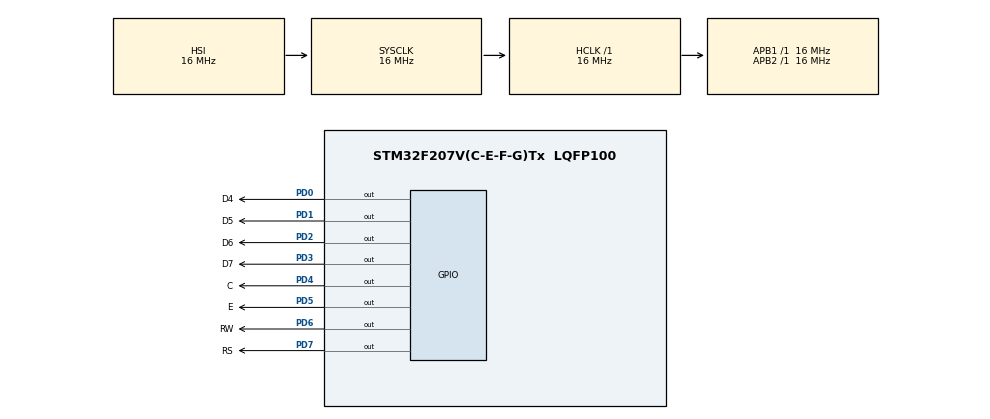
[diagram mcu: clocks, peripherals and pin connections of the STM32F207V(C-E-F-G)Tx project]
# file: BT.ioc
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Mcu.Family=STM32F2
Mcu.Name=STM32F207V(C-E-F-G)Tx
Mcu.Package=LQFP100
NVIC.PriorityGroup=NVIC_PRIORITYGROUP_4
PA13.Mode=Serial_Wire
PA13.Signal=SYS_JTMS-SWDIO
PA14.Mode=Serial_Wire
PA14.Signal=SYS_JTCK-SWCLK
PD0.GPIO_Label=D4
PD0.Signal=GPIO_Output
PD1.GPIO_Label=D5
PD1.Signal=GPIO_Output
PD2.GPIO_Label=D6
PD2.Signal=GPIO_Output
PD3.GPIO_Label=D7
PD3.Signal=GPIO_Output
PD4.GPIO_Label=C
PD4.Signal=GPIO_Output
PD5.GPIO_Label=E
PD5.Signal=GPIO_Output
PD6.GPIO_Label=RW
PD6.Signal=GPIO_Output
PD7.GPIO_Label=RS
PD7.Signal=GPIO_Output
ProjectManager.HeapSize=0x200
ProjectManager.StackSize=0x400
ProjectManager.TargetToolchain=MDK-ARM V5.32
RCC.48MHZClocksFreq_Value=48000000
RCC.AHBFreq_Value=16000000
RCC.APB1Freq_Value=16000000
RCC.APB2Freq_Value=16000000
RCC.CortexFreq_Value=16000000
RCC.HSE_VALUE=25000000
RCC.HSI_VALUE=16000000
RCC.LSE_VALUE=32768
RCC.SYSCLKFreq_VALUE=16000000
RCC.VCOOutputFreq_Value=192000000
board=custom

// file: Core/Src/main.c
/* USER CODE BEGIN Header */
/**
  ******************************************************************************
  * @file           : main.c
  * @brief          : Main program body
  ******************************************************************************
  * @attention
  *
  * Copyright (c) 2025 STMicroelectronics.
  * All rights reserved.
  *
  * This software is licensed under terms that can be found in the LICENSE file
  * in the root directory of this software component.
  * If no LICENSE file comes with this software, it is provided AS-IS.
  *
  ******************************************************************************
  */
/* USER CODE END Header */
#include "main.h"

void SystemClock_Config(void);
static void MX_GPIO_Init(void);

int main(void)
{

  /* MCU Configuration--------------------------------------------------------*/

  /* Reset of all peripherals, Initializes the Flash interface and the Systick. */
  HAL_Init();

  /* Configure the system clock */
  SystemClock_Config();

  /* Initialize all configured peripherals */
  MX_GPIO_Init();

  /* Infinite loop */
  /* USER CODE BEGIN WHILE */
		HAL_GPIO_WritePin(C_GPIO_Port, C_Pin, 1);

  while (1)
  {
				// LCD init
		HAL_Delay(100);\
		// RS RW D7 D6 D5 D4 = 0 0 0 0 1 1
		HAL_GPIO_WritePin(RS_GPIO_Port,RS_Pin,0);
		HAL_GPIO_WritePin(RW_GPIO_Port,RW_Pin,0);
		HAL_GPIO_WritePin(D7_GPIO_Port,D7_Pin,0);
		HAL_GPIO_WritePin(D6_GPIO_Port,D6_Pin,0);
		HAL_GPIO_WritePin(D5_GPIO_Port,D5_Pin,1);
		HAL_GPIO_WritePin(D4_GPIO_Port,D4_Pin,1);
		HAL_GPIO_WritePin(E_GPIO_Port, E_Pin, 1);
		HAL_GPIO_WritePin(E_GPIO_Port, E_Pin, 0);
		HAL_Delay(5);  // 4.1ms

		// RS RW D7 D6 D5 D4 = 0 0 0 0 1 1
		HAL_GPIO_WritePin(RS_GPIO_Port,RS_Pin,0);
		HAL_GPIO_WritePin(RW_GPIO_Port,RW_Pin,0);
		HAL_GPIO_WritePin(D7_GPIO_Port,D7_Pin,0);
		HAL_GPIO_WritePin(D6_GPIO_Port,D6_Pin,0);
		HAL_GPIO_WritePin(D5_GPIO_Port,D5_Pin,1);
		HAL_GPIO_WritePin(D4_GPIO_Port,D4_Pin,1);
		HAL_GPIO_WritePin(E_GPIO_Port, E_Pin, 1);
		HAL_GPIO_WritePin(E_GPIO_Port, E_Pin, 0);

		HAL_Delay(1);  // 100us

		// RS RW D7 D6 D5 D4 = 0 0 0 0 1 1
		HAL_GPIO_WritePin(RS_GPIO_Port,RS_Pin,0);
		HAL_GPIO_WritePin(RW_GPIO_Port,RW_Pin,0);
		HAL_GPIO_WritePin(D7_GPIO_Port,D7_Pin,0);
		HAL_GPIO_WritePin(D6_GPIO_Port,D6_Pin,0);
		HAL_GPIO_WritePin(D5_GPIO_Port,D5_Pin,1);
		HAL_GPIO_WritePin(D4_GPIO_Port,D4_Pin,1);
		HAL_GPIO_WritePin(E_GPIO_Port, E_Pin, 1);
		HAL_GPIO_WritePin(E_GPIO_Port, E_Pin, 0);

		// RS RW D7 D6 D5 D4 = 0 0 0 0 1 0
		HAL_GPIO_WritePin(RS_GPIO_Port,RS_Pin,0);
		HAL_GPIO_WritePin(RW_GPIO_Port,RW_Pin,0);
		HAL_GPIO_WritePin(D7_GPIO_Port,D7_Pin,0);
		HAL_GPIO_WritePin(D6_GPIO_Port,D6_Pin,0);
		HAL_GPIO_WritePin(D5_GPIO_Port,D5_Pin,1);
		HAL_GPIO_WritePin(D4_GPIO_Port,D4_Pin,0);
		HAL_GPIO_WritePin(E_GPIO_Port, E_Pin, 1);
		HAL_GPIO_WritePin(E_GPIO_Port, E_Pin, 0);
		HAL_Delay(1);

		// RS RW D7 D6 D5 D4 = 0 0 0 0 1 0
		HAL_GPIO_WritePin(RS_GPIO_Port,RS_Pin,0);
		HAL_GPIO_WritePin(RW_GPIO_Port,RW_Pin,0);
		HAL_GPIO_WritePin(D7_GPIO_Port,D7_Pin,0);
		HAL_GPIO_WritePin(D6_GPIO_Port,D6_Pin,0);
		HAL_GPIO_WritePin(D5_GPIO_Port,D5_Pin,1);
		HAL_GPIO_WritePin(D4_GPIO_Port,D4_Pin,0);
		HAL_GPIO_WritePin(E_GPIO_Port, E_Pin, 1);
		HAL_GPIO_WritePin(E_GPIO_Port, E_Pin, 0);

		// RS RW D7 D6 D5 D4 = 0 0 N F * *
		// N = 1 ( 2 lines LCD ; 5x8 )
		HAL_GPIO_WritePin(RS_GPIO_Port,RS_Pin,0);
		HAL_GPIO_WritePin(RW_GPIO_Port,RW_Pin,0);
		HAL_GPIO_WritePin(D7_GPIO_Port,D7_Pin,1);
		HAL_GPIO_WritePin(D6_GPIO_Port,D6_Pin,0);
		HAL_GPIO_WritePin(D5_GPIO_Port,D5_Pin,0);
		HAL_GPIO_WritePin(D4_GPIO_Port,D4_Pin,0);
		HAL_GPIO_WritePin(E_GPIO_Port, E_Pin, 1);
		HAL_GPIO_WritePin(E_GPIO_Port, E_Pin, 0);
		HAL_Delay(1);

		// RS RW D7 D6 D5 D4 = 0 0 0 0 0 0
		HAL_GPIO_WritePin(RS_GPIO_Port,RS_Pin,0);
		HAL_GPIO_WritePin(RW_GPIO_Port,RW_Pin,0);
		HAL_GPIO_WritePin(D7_GPIO_Port,D7_Pin,0);
		HAL_GPIO_WritePin(D6_GPIO_Port,D6_Pin,0);
		HAL_GPIO_WritePin(D5_GPIO_Port,D5_Pin,0);
		HAL_GPIO_WritePin(D4_GPIO_Port,D4_Pin,0);
		HAL_GPIO_WritePin(E_GPIO_Port, E_Pin, 1);
		HAL_GPIO_WritePin(E_GPIO_Port, E_Pin, 0);

		// RS RW D7 D6 D5 D4 = 0 0 1 0 0 0
		HAL_GPIO_WritePin(RS_GPIO_Port,RS_Pin,0);
		HAL_GPIO_WritePin(RW_GPIO_Port,RW_Pin,0);
		HAL_GPIO_WritePin(D7_GPIO_Port,D7_Pin,1);
		HAL_GPIO_WritePin(D6_GPIO_Port,D6_Pin,0);
		HAL_GPIO_WritePin(D5_GPIO_Port,D5_Pin,0);
		HAL_GPIO_WritePin(D4_GPIO_Port,D4_Pin,0);
		HAL_GPIO_WritePin(E_GPIO_Port, E_Pin, 1);
		HAL_GPIO_WritePin(E_GPIO_Port, E_Pin, 0);
		HAL_Delay(1);

		// RS RW D7 D6 D5 D4 = 0 0 0 0 0 0
		HAL_GPIO_WritePin(RS_GPIO_Port,RS_Pin,0);
		HAL_GPIO_WritePin(RW_GPIO_Port,RW_Pin,0);
		HAL_GPIO_WritePin(D7_GPIO_Port,D7_Pin,0);
		HAL_GPIO_WritePin(D6_GPIO_Port,D6_Pin,0);
		HAL_GPIO_WritePin(D5_GPIO_Port,D5_Pin,0);
		HAL_GPIO_WritePin(D4_GPIO_Port,D4_Pin,0);
		HAL_GPIO_WritePin(E_GPIO_Port, E_Pin, 1);
		HAL_GPIO_WritePin(E_GPIO_Port, E_Pin, 0);
		HAL_Delay(1);

		// RS RW D7 D6 D5 D4 = 0 0 0 0 0 1
		HAL_GPIO_WritePin(RS_GPIO_Port,RS_Pin,0);
		HAL_GPIO_WritePin(RW_GPIO_Port,RW_Pin,0);
		HAL_GPIO_WritePin(D7_GPIO_Port,D7_Pin,0);
		HAL_GPIO_WritePin(D6_GPIO_Port,D6_Pin,0);
		HAL_GPIO_WritePin(D5_GPIO_Port,D5_Pin,0);
		HAL_GPIO_WritePin(D4_GPIO_Port,D4_Pin,1);
		HAL_GPIO_WritePin(E_GPIO_Port, E_Pin, 1);
		HAL_GPIO_WritePin(E_GPIO_Port, E_Pin, 0);
		HAL_Delay(1);

		// RS RW D7 D6 D5 D4 = 0 0 0 0 0 0
		HAL_GPIO_WritePin(RS_GPIO_Port,RS_Pin,0);
		HAL_GPIO_WritePin(RW_GPIO_Port,RW_Pin,0);
		HAL_GPIO_WritePin(D7_GPIO_Port,D7_Pin,0);
		HAL_GPIO_WritePin(D6_GPIO_Port,D6_Pin,0);
		HAL_GPIO_WritePin(D5_GPIO_Port,D5_Pin,0);
		HAL_GPIO_WritePin(D4_GPIO_Port,D4_Pin,0);
		HAL_GPIO_WritePin(E_GPIO_Port, E_Pin, 1);
		HAL_GPIO_WritePin(E_GPIO_Port, E_Pin, 0);

		// RS RW D7 D6 D5 D4 = 0 0 0 1 ID S
		// ID = 1: Increment by 1
		// S = 0 : No shift
		HAL_GPIO_WritePin(RS_GPIO_Port,RS_Pin,0);
		HAL_GPIO_WritePin(RW_GPIO_Port,RW_Pin,0);
		HAL_GPIO_WritePin(D7_GPIO_Port,D7_Pin,0);
		HAL_GPIO_WritePin(D6_GPIO_Port,D6_Pin,1);
		HAL_GPIO_WritePin(D5_GPIO_Port,D5_Pin,1);
		HAL_GPIO_WritePin(D4_GPIO_Port,D4_Pin,0);
		HAL_GPIO_WritePin(E_GPIO_Port, E_Pin, 1);
		HAL_GPIO_WritePin(E_GPIO_Port, E_Pin, 0);
		HAL_Delay(1);
		// End of LCD init

		// RS RW D7 D6 D5 D4 D3 D2 D1 D0
		// 0  0  0   0 0  0  1   D  C  B
		HAL_GPIO_WritePin(RS_GPIO_Port,RS_Pin,0);
		HAL_GPIO_WritePin(RW_GPIO_Port,RW_Pin,0);
		HAL_GPIO_WritePin(D7_GPIO_Port,D7_Pin,0);
		HAL_GPIO_WritePin(D6_GPIO_Port,D6_Pin,0);
		HAL_GPIO_WritePin(D5_GPIO_Port,D5_Pin,0);
		HAL_GPIO_WritePin(D4_GPIO_Port,D4_Pin,0);
		HAL_GPIO_WritePin(E_GPIO_Port, E_Pin, 1);
		HAL_GPIO_WritePin(E_GPIO_Port, E_Pin, 0);

	  HAL_GPIO_WritePin(D7_GPIO_Port,D7_Pin,1);
		HAL_GPIO_WritePin(D6_GPIO_Port,D6_Pin,1); //D
		HAL_GPIO_WritePin(D5_GPIO_Port,D5_Pin,1); //C
		HAL_GPIO_WritePin(D4_GPIO_Port,D4_Pin,1); //B
		HAL_GPIO_WritePin(E_GPIO_Port, E_Pin, 1);
		HAL_GPIO_WritePin(E_GPIO_Port, E_Pin, 0);
		HAL_Delay(1);

		// 'A' -> 0100 0001  (65) (RS = 1)
		// RS RW D7 D6 D5 D4 D3 D2 D1 D0
		// 1  0  0   1  0  0  0  0  0  1
		HAL_GPIO_WritePin(RS_GPIO_Port,RS_Pin,1);
		HAL_GPIO_WritePin(RW_GPIO_Port,RW_Pin,0);
		HAL_GPIO_WritePin(D7_GPIO_Port,D7_Pin,1);
		HAL_GPIO_WritePin(D6_GPIO_Port,D6_Pin,1);
		HAL_GPIO_WritePin(D5_GPIO_Port,D5_Pin,0);
		HAL_GPIO_WritePin(D4_GPIO_Port,D4_Pin,0);
		HAL_GPIO_WritePin(E_GPIO_Port, E_Pin, 1);
		HAL_GPIO_WritePin(E_GPIO_Port, E_Pin, 0);

	  HAL_GPIO_WritePin(D7_GPIO_Port,D7_Pin,0);
		HAL_GPIO_WritePin(D6_GPIO_Port,D6_Pin,0); //D
		HAL_GPIO_WritePin(D5_GPIO_Port,D5_Pin,0); //C
		HAL_GPIO_WritePin(D4_GPIO_Port,D4_Pin,1); //B
		HAL_GPIO_WritePin(E_GPIO_Port, E_Pin, 1);
		HAL_GPIO_WritePin(E_GPIO_Port, E_Pin, 0);
		HAL_Delay(1);

		while(1);
    /* USER CODE END WHILE */

  }
}

void SystemClock_Config(void)
{
  RCC_OscInitTypeDef RCC_OscInitStruct = {0};
  RCC_ClkInitTypeDef RCC_ClkInitStruct = {0};

  /** Initializes the RCC Oscillators according to the specified parameters
  * in the RCC_OscInitTypeDef structure.
  */
  RCC_OscInitStruct.OscillatorType = RCC_OSCILLATORTYPE_HSI;
  RCC_OscInitStruct.HSIState = RCC_HSI_ON;
  RCC_OscInitStruct.HSICalibrationValue = RCC_HSICALIBRATION_DEFAULT;
  RCC_OscInitStruct.PLL.PLLState = RCC_PLL_NONE;
  if (HAL_RCC_OscConfig(&RCC_OscInitStruct) != HAL_OK)
  {
    Error_Handler();
  }

  /** Initializes the CPU, AHB and APB buses clocks
  */
  RCC_ClkInitStruct.ClockType = RCC_CLOCKTYPE_HCLK|RCC_CLOCKTYPE_SYSCLK
                              |RCC_CLOCKTYPE_PCLK1|RCC_CLOCKTYPE_PCLK2;
  RCC_ClkInitStruct.SYSCLKSource = RCC_SYSCLKSOURCE_HSI;
  RCC_ClkInitStruct.AHBCLKDivider = RCC_SYSCLK_DIV1;
  RCC_ClkInitStruct.APB1CLKDivider = RCC_HCLK_DIV1;
  RCC_ClkInitStruct.APB2CLKDivider = RCC_HCLK_DIV1;

  if (HAL_RCC_ClockConfig(&RCC_ClkInitStruct, FLASH_LATENCY_0) != HAL_OK)
  {
    Error_Handler();
  }
}

static void MX_GPIO_Init(void)
{
  GPIO_InitTypeDef GPIO_InitStruct = {0};

  /* GPIO Ports Clock Enable */
  __HAL_RCC_GPIOA_CLK_ENABLE();
  __HAL_RCC_GPIOD_CLK_ENABLE();

  /*Configure GPIO pin Output Level */
  HAL_GPIO_WritePin(GPIOD, D4_Pin|D5_Pin|D6_Pin|D7_Pin
                          |C_Pin|E_Pin|RW_Pin|RS_Pin, GPIO_PIN_RESET);

  /*Configure GPIO pins : D4_Pin D5_Pin D6_Pin D7_Pin
                           C_Pin E_Pin RW_Pin RS_Pin */
  GPIO_InitStruct.Pin = D4_Pin|D5_Pin|D6_Pin|D7_Pin
                          |C_Pin|E_Pin|RW_Pin|RS_Pin;
  GPIO_InitStruct.Mode = GPIO_MODE_OUTPUT_PP;
  GPIO_InitStruct.Pull = GPIO_NOPULL;
  GPIO_InitStruct.Speed = GPIO_SPEED_FREQ_LOW;
  HAL_GPIO_Init(GPIOD, &GPIO_InitStruct);

}

void Error_Handler(void)
{
  __disable_irq();
  while (1)
  {
  }
}
